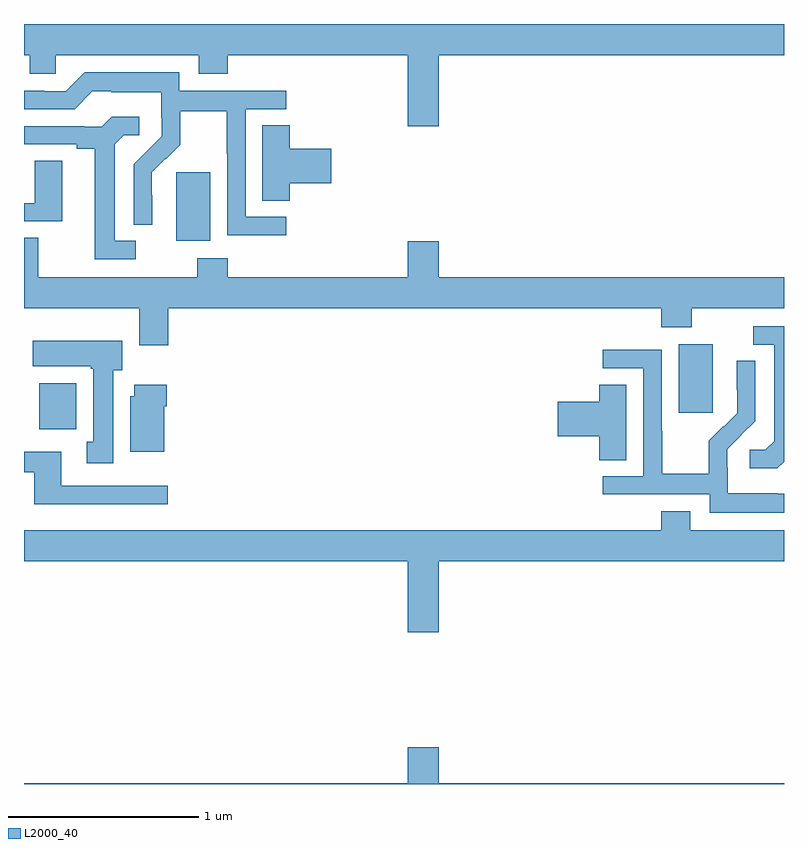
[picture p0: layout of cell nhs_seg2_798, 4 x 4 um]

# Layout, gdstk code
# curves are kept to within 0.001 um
import gdstk
lib = gdstk.Library(unit=1e-6, precision=1e-09)
def R(c, l, rs):  # rectangles x0, y0, x1, y1
    for r in rs: c.add(gdstk.rectangle(r[:2], r[2:], *l))
def P(c, l, *ps):  # polygons
    for p in ps: c.add(gdstk.Polygon(p, *l))
L2000_40 = (2000, 40)

nhs_seg2_798 = lib.new_cell('nhs_seg2_798')
R(nhs_seg2_798, L2000_40, [(151.079,645.668,151.276,645.91), (154.445,645.753,154.624,646.114), (151.802,646.658,151.981,647.019)])
P(nhs_seg2_798, L2000_40, [(153.184,647.636),(155,647.636),(155,647.8),(151,647.8),(151,647.636),(151.029,647.636),(151.029,647.538),(151.167,647.538),(151.167,647.636),(151.919,647.636),(151.919,647.537),(152.072,647.537),(152.072,647.636),(153.02,647.636),(153.02,647.262),(153.184,647.262)],
  [(152.38,646.785),(152.166,646.785),(152.166,647.352),(152.38,647.352),(152.38,647.448),(151.818,647.448),(151.818,647.545),(151.321,647.545),(151.221,647.445),(151.106,647.445),(151.106,647.448),(151,647.448),(151,647.352),(151.266,647.352),(151.359,647.445),(151.459,647.445),(151.459,647.441),(151.722,647.441),(151.722,647.307),(151.724,647.307),(151.724,647.21),(151.578,647.062),(151.578,646.744),(151.674,646.744),(151.673,647.021),(151.743,647.091),(151.746,647.088),(151.823,647.165),(151.823,647.34),(152.068,647.34),(152.068,647.116),(152.07,647.116),(152.07,646.687),(152.38,646.687)],
  [(151.588,646.659),(151.477,646.659),(151.477,647.167),(151.524,647.214),(151.606,647.214),(151.606,647.311),(151.462,647.311),(151.41,647.259),(151.316,647.259),(151.316,647.262),(151,647.262),(151,647.166),(151.277,647.166),(151.277,647.144),(151.373,647.144),(151.373,646.563),(151.588,646.563)],
  [(152.399,646.961),(152.617,646.961),(152.617,647.144),(152.399,647.144),(152.399,647.267),(152.255,647.267),(152.255,646.87),(152.399,646.87)],
  [(151.201,647.081),(151.056,647.081),(151.056,646.857),(151,646.857),(151,646.761),(151.201,646.761)],
  [(151.76,646.304),(154.355,646.304),(154.355,646.205),(154.515,646.205),(154.515,646.304),(155,646.304),(155,646.468),(153.184,646.468),(153.184,646.657),(153.02,646.657),(153.02,646.468),(152.072,646.468),(152.072,646.567),(151.912,646.567),(151.912,646.468),(151.075,646.468),(151.075,646.676),(151,646.676),(151,646.304),(151.607,646.304),(151.607,646.11),(151.76,646.11)],
  [(155,645.497),(155,646.209),(154.839,646.209),(154.839,646.113),(154.949,646.113),(154.949,645.605),(154.902,645.558),(154.821,645.558),(154.821,645.461),(154.964,645.461)],
  [(151.471,645.978),(151.516,645.978),(151.516,646.132),(151.047,646.132),(151.047,645.998),(151.351,645.998),(151.351,645.985),(151.364,645.985),(151.364,645.602),(151.331,645.602),(151.331,645.489),(151.471,645.489)],
  [(155,645.327),(154.967,645.327),(154.967,645.331),(154.704,645.331),(154.704,645.465),(154.702,645.465),(154.702,645.562),(154.848,645.71),(154.848,646.028),(154.752,646.028),(154.752,645.874),(154.754,645.874),(154.754,645.752),(154.683,645.681),(154.68,645.684),(154.603,645.607),(154.603,645.433),(154.359,645.433),(154.359,645.656),(154.356,645.656),(154.356,646.086),(154.047,646.086),(154.047,645.987),(154.26,645.987),(154.26,645.42),(154.047,645.42),(154.047,645.324),(154.608,645.324),(154.608,645.227),(155,645.227)],
  [(154.171,645.902),(154.028,645.902),(154.028,645.812),(153.81,645.812),(153.81,645.629),(154.028,645.629),(154.028,645.505),(154.171,645.505)],
  [(151.738,645.788),(151.751,645.788),(151.751,645.901),(151.58,645.901),(151.58,645.84),(151.559,645.84),(151.559,645.548),(151.738,645.548)],
  [(151.756,645.369),(151.195,645.369),(151.195,645.55),(151,645.55),(151,645.441),(151.055,645.441),(151.055,645.272),(151.756,645.272)],
  [(153.184,644.972),(155,644.972),(155,645.136),(154.507,645.136),(154.507,645.235),(154.355,645.235),(154.355,645.136),(151,645.136),(151,644.972),(153.02,644.972),(153.02,644.598),(153.184,644.598)],
  [(155,643.804),(153.184,643.804),(153.184,643.993),(153.02,643.993),(153.02,643.804),(151,643.804),(151,643.8),(155,643.8)])

lib.write_gds('nhs_seg2_798.gds')
